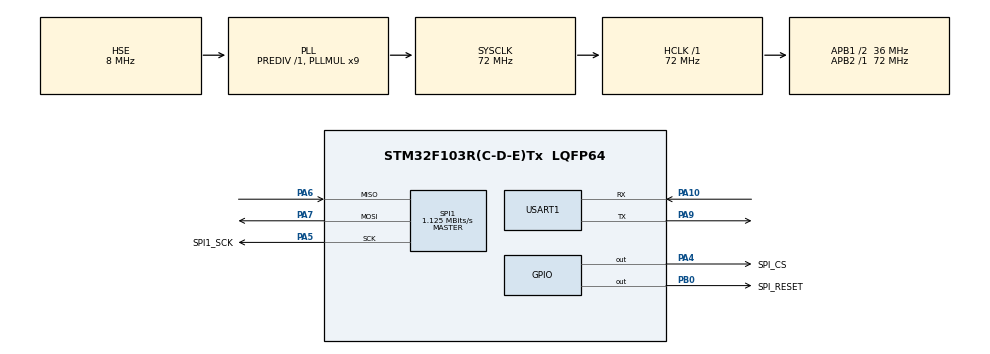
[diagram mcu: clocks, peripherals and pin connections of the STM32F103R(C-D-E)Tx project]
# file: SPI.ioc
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Mcu.Family=STM32F1
Mcu.Name=STM32F103R(C-D-E)Tx
Mcu.Package=LQFP64
NVIC.PriorityGroup=NVIC_PRIORITYGROUP_4
NVIC.SPI1_IRQn=true\:0\:0\:false\:false\:true\:true\:true
NVIC.USART1_IRQn=true\:0\:0\:false\:false\:true\:true\:true
PA10.Mode=Asynchronous
PA10.Signal=USART1_RX
PA13.Mode=Trace_Asynchronous_SW
PA13.Signal=SYS_JTMS-SWDIO
PA14.Mode=Trace_Asynchronous_SW
PA14.Signal=SYS_JTCK-SWCLK
PA4.GPIO_Label=SPI_CS
PA4.GPIO_PuPd=GPIO_PULLUP
PA4.GPIO_Speed=GPIO_SPEED_FREQ_HIGH
PA4.PinState=GPIO_PIN_RESET
PA4.Signal=GPIO_Output
PA5.GPIO_Label=SPI1_SCK
PA5.Mode=Full_Duplex_Master
PA5.Signal=SPI1_SCK
PA6.Mode=Full_Duplex_Master
PA6.Signal=SPI1_MISO
PA7.Mode=Full_Duplex_Master
PA7.Signal=SPI1_MOSI
PA9.Mode=Asynchronous
PA9.Signal=USART1_TX
PB0.GPIO_Label=SPI_RESET
PB0.GPIO_PuPd=GPIO_PULLUP
PB0.GPIO_Speed=GPIO_SPEED_FREQ_HIGH
PB0.Signal=GPIO_Output
PB3.Mode=Trace_Asynchronous_SW
PB3.Signal=SYS_JTDO-TRACESWO
PD0-OSC_IN.Mode=HSE-External-Oscillator
PD0-OSC_IN.Signal=RCC_OSC_IN
PD1-OSC_OUT.Mode=HSE-External-Oscillator
PD1-OSC_OUT.Signal=RCC_OSC_OUT
ProjectManager.HeapSize=0x200
ProjectManager.StackSize=0x400
ProjectManager.TargetToolchain=STM32CubeIDE
RCC.AHBFreq_Value=72000000
RCC.APB1CLKDivider=RCC_HCLK_DIV2
RCC.APB1Freq_Value=36000000
RCC.APB1TimFreq_Value=72000000
RCC.APB2Freq_Value=72000000
RCC.APB2TimFreq_Value=72000000
RCC.HCLKFreq_Value=72000000
RCC.PLLMUL=RCC_PLL_MUL9
RCC.PLLSourceVirtual=RCC_PLLSOURCE_HSE
RCC.SYSCLKFreq_VALUE=72000000
RCC.SYSCLKSource=RCC_SYSCLKSOURCE_PLLCLK
RCC.USBFreq_Value=72000000
SPI1.BaudRatePrescaler=SPI_BAUDRATEPRESCALER_64
SPI1.CalculateBaudRate=1.125 MBits/s
SPI1.Direction=SPI_DIRECTION_2LINES
SPI1.Mode=SPI_MODE_MASTER
SPI1.VirtualType=VM_MASTER
USART1.VirtualMode=VM_ASYNC
board=custom

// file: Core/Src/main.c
/* USER CODE BEGIN Header */
/**
 ******************************************************************************
 * @file           : main.c
 * @brief          : Main program body
 ******************************************************************************
 * @attention
 *
 * <h2><center>&copy; Copyright (c) 2021 STMicroelectronics.
 * All rights reserved.</center></h2>
 *
 * This software component is licensed by ST under BSD 3-Clause license,
 * the "License"; You may not use this file except in compliance with the
 * License. You may obtain a copy of the License at:
 *                        opensource.org/licenses/BSD-3-Clause
 *
 ******************************************************************************
 */
/* USER CODE END Header */
#include "main.h"
#include "gpio.h"
#include "spi.h"
#include "usart.h"

/* USER CODE BEGIN Includes */
#include "rc522.h"
#include <stdio.h>
/* USER CODE END Includes */

void SystemClock_Config(void);
/* USER CODE BEGIN PFP */
// void ReaderCard(void);
/* USER CODE END PFP */

int main(void) {
  /* USER CODE BEGIN 1 */
  // uint8_t th, dh;
  // uint8_t eeprom;
  /* USER CODE END 1 */

  /* MCU Configuration--------------------------------------------------------*/

  /* Reset of all peripherals, Initializes the Flash interface and the Systick.
   */
  HAL_Init();

  /* Configure the system clock */
  SystemClock_Config();

  /* Initialize all configured peripherals */
  MX_GPIO_Init();
  MX_SPI1_Init();
  MX_USART1_UART_Init();
  /* USER CODE BEGIN 2 */
  printf("The USART Is Ok!!!\r\n");

  /*RC522 initialization*/
  RC522_PcdReset();
  /*Close the antenna*/
  RC522_PcdAntennaOff();
  /*Open the antenna*/
  RC522_PcdAntennaOn();

  printf("RFID-MFRC522 TEST\r\nFindCard Starting ...\r\n"); /*Test pin
                                                               initialization*/
  /* USER CODE END 2 */

  while (1) {

    /* USER CODE BEGIN 3 */
    uint8_t Temp[4] = {0};
    if (RC522_PcdRequest(0x52, Temp) == MI_OK) {
      if (Temp[0] == 0x04 && Temp[1] == 0x00)
        printf("MFOne-S50");
      else if (Temp[0] == 0x02 && Temp[1] == 0x00)
        printf("MFOne-S70");
      else if (Temp[0] == 0x44 && Temp[1] == 0x00)
        printf("MF-UltraLight");
      else if (Temp[0] == 0x08 && Temp[1] == 0x00)
        printf("MF-Pro");
      else if (Temp[0] == 0x44 && Temp[1] == 0x03)
        printf("MF Desire");
      else
        printf("Unknown");
      printf("SUCCESS!");
    } else {
      printf("Failed!");
    }

    HAL_Delay(100);
  }
  /* USER CODE END 3 */
}

void SystemClock_Config(void) {
  RCC_OscInitTypeDef RCC_OscInitStruct = {0};
  RCC_ClkInitTypeDef RCC_ClkInitStruct = {0};

  /** Initializes the RCC Oscillators according to the specified parameters
   * in the RCC_OscInitTypeDef structure.
   */
  RCC_OscInitStruct.OscillatorType = RCC_OSCILLATORTYPE_HSE;
  RCC_OscInitStruct.HSEState = RCC_HSE_ON;
  RCC_OscInitStruct.HSEPredivValue = RCC_HSE_PREDIV_DIV1;
  RCC_OscInitStruct.HSIState = RCC_HSI_ON;
  RCC_OscInitStruct.PLL.PLLState = RCC_PLL_ON;
  RCC_OscInitStruct.PLL.PLLSource = RCC_PLLSOURCE_HSE;
  RCC_OscInitStruct.PLL.PLLMUL = RCC_PLL_MUL9;
  if (HAL_RCC_OscConfig(&RCC_OscInitStruct) != HAL_OK) {
    Error_Handler();
  }
  /** Initializes the CPU, AHB and APB buses clocks
   */
  RCC_ClkInitStruct.ClockType = RCC_CLOCKTYPE_HCLK | RCC_CLOCKTYPE_SYSCLK |
                                RCC_CLOCKTYPE_PCLK1 | RCC_CLOCKTYPE_PCLK2;
  RCC_ClkInitStruct.SYSCLKSource = RCC_SYSCLKSOURCE_PLLCLK;
  RCC_ClkInitStruct.AHBCLKDivider = RCC_SYSCLK_DIV1;
  RCC_ClkInitStruct.APB1CLKDivider = RCC_HCLK_DIV2;
  RCC_ClkInitStruct.APB2CLKDivider = RCC_HCLK_DIV1;

  if (HAL_RCC_ClockConfig(&RCC_ClkInitStruct, FLASH_LATENCY_2) != HAL_OK) {
    Error_Handler();
  }
}

/* USER CODE BEGIN 4 */
/**
 * @brief  IC测试函数
 * @param  �????
 * @retval �????
 */
void ReaderCard(void) {
  // uint8_t temp_value;
  while (1) {
    /*寻卡*/
    // if ((RC522_PcdRequest(PICC_REQALL, Temp)) == MI_OK) {
    //   printf("寻卡成功\n");
    //   /*若失败再次寻�????*/

    //   ucStatusReturn = RC522_PcdRequest(PICC_REQALL, ucArray_ID); //
    //   PICC_REQALL PICC_REQIDL
    // } else {
    //   printf("寻卡失败\n");
    // }

    // if (ucStatusReturn == MI_OK) {
    //   // printf ( "寻卡成功\n" );
    //   /*防冲撞（当有多张卡进入读写器操作范围时，防冲突机制会从其中�?�择�????张进行操作）*/
    //   if (RC522_PcdAnticoll(ucArray_ID) == MI_OK) {
    //     RC522_PcdSelect(ucArray_ID);

    //     RC522_PcdAuthState(PICC_AUTHENT1A, 0x11, KeyValue,
    //                        ucArray_ID); //校验密码
    //     // WriteAmount(0x11, writeValue); //写入金额
    //     // if (ReadAmount(0x11, &readValue) == MI_OK)
    //     //读取金额
    //     // {
    //     //   // writeValue +=100;
    //     //   sprintf(cStr, "The Card ID is: %02X%02X%02X%02X", ucArray_ID[0],
    //     //           ucArray_ID[1], ucArray_ID[2], ucArray_ID[3]);
    //     //   printf("%s\r\n", cStr); //打印卡片ID
    //     //   //ILI9341_DispStringLine_EN(LINE(0), cStr);

    //     //   printf("余额为：%d\r\n", readValue);
    //     //   sprintf(cStr, "TThe residual amount: %d", readValue);
    //     // ILI9341_DispStringLine_EN(LINE(1), cStr);
    //     RC522_PcdHalt();
    //     // }
    //   }
    // }
  }
}
/* USER CODE END 4 */

void Error_Handler(void) {
  /* USER CODE BEGIN Error_Handler_Debug */
  /* User can add his own implementation to report the HAL error return state
   */
  __disable_irq();
  while (1) {
  }
  /* USER CODE END Error_Handler_Debug */
}

#ifdef USE_FULL_ASSERT
/**
 * @brief  Reports the name of the source file and the source line number
 *         where the assert_param error has occurred.
 * @param  file: pointer to the source file name
 * @param  line: assert_param error line source number
 * @retval None
 */
void assert_failed(uint8_t *file, uint32_t line) {
  /* USER CODE BEGIN 6 */
  /* User can add his own implementation to report the file name and line
     number,
     ex: printf("Wrong parameters value: file %s on line %d\r\n", file, line)
   */
  /* USER CODE END 6 */
}
#endif /* USE_FULL_ASSERT */

/************************ (C) COPYRIGHT STMicroelectronics *****END OF FILE****/
